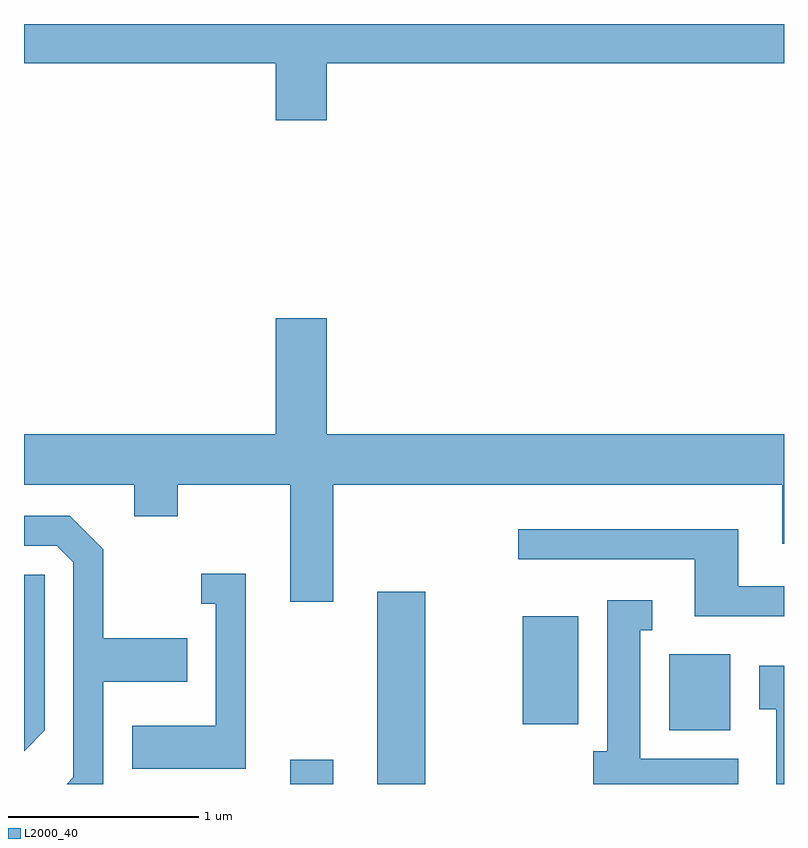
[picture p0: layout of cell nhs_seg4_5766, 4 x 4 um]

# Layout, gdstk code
import gdstk
lib = gdstk.Library(unit=1e-6, precision=1e-09)
def R(c, l, rs):  # rectangles x0, y0, x1, y1
    for r in rs: c.add(gdstk.rectangle(r[:2], r[2:], *l))
def P(c, l, *ps):  # polygons
    for p in ps: c.add(gdstk.Polygon(p, *l))
L2000_40 = (2000, 40)

nhs_seg4_5766 = lib.new_cell('nhs_seg4_5766')
R(nhs_seg4_5766, L2000_40, [(355.011,1361.982,355.239,1362.109), (355.471,1361.982,355.724,1362.994), (357.006,1362.266,357.329,1362.664), (356.236,1362.296,356.529,1362.864)])
P(nhs_seg4_5766, L2000_40, [(355.204,1365.776),(357.611,1365.776),(357.611,1365.982),(353.611,1365.982),(353.611,1365.776),(354.936,1365.776),(354.936,1365.476),(355.204,1365.476)],
  [(355.239,1363.556),(357.601,1363.556),(357.601,1363.246),(357.611,1363.246),(357.611,1363.824),(355.204,1363.824),(355.204,1364.434),(354.936,1364.434),(354.936,1363.824),(353.611,1363.824),(353.611,1363.556),(354.191,1363.556),(354.191,1363.391),(354.419,1363.391),(354.419,1363.556),(355.011,1363.556),(355.011,1362.941),(355.239,1362.941)],
  [(354.029,1362.521),(354.469,1362.521),(354.469,1362.749),(354.029,1362.749),(354.029,1363.217),(353.852,1363.394),(353.611,1363.394),(353.611,1363.236),(353.784,1363.236),(353.871,1363.149),(353.871,1362.017),(353.836,1361.982),(354.029,1361.982)],
  [(357.611,1363.024),(357.369,1363.024),(357.369,1363.324),(356.213,1363.324),(356.213,1363.166),(357.141,1363.166),(357.141,1362.866),(357.611,1362.866)],
  [(354.779,1363.089),(354.543,1363.089),(354.543,1362.931),(354.621,1362.931),(354.621,1362.289),(354.181,1362.289),(354.181,1362.061),(354.779,1362.061)],
  [(353.719,1362.264),(353.719,1363.084),(353.611,1363.084),(353.611,1362.155)],
  [(357.369,1362.114),(356.854,1362.114),(356.854,1362.791),(356.918,1362.791),(356.918,1362.949),(356.681,1362.949),(356.681,1362.154),(356.606,1362.154),(356.606,1361.982),(357.369,1361.982)],
  [(357.611,1362.604),(357.481,1362.604),(357.481,1362.376),(357.571,1362.376),(357.571,1361.982),(357.611,1361.982)])

lib.write_gds('nhs_seg4_5766.gds')
